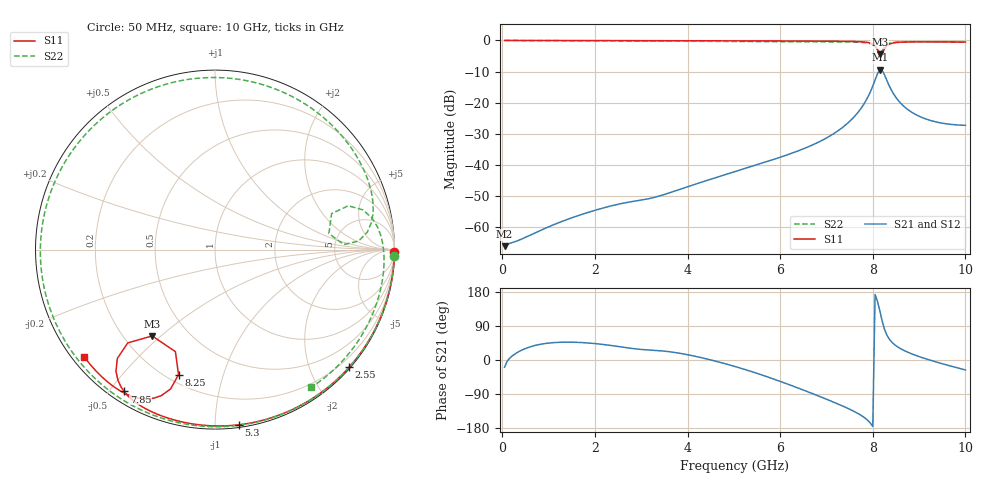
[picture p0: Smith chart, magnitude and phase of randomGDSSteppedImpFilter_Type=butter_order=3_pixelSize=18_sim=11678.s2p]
! freq	dB(S11)	phase(S11)	dB(S12)	phase(S12)
!  dB(S21)	phase(S21)	dB(S22)	phase(S22)
!S-par simulation data
#  GHz  S  DB  R 50
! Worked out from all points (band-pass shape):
!   200 points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, 50 MHz to 10 GHz, reference 50 ohm
!   highest |S21| = -9.43 dB at 8.15 GHz (marker M1); lowest = -66.2 dB at 50 MHz (marker M2)
!   |S21| within 3 dB of the highest: 8.058 GHz to 8.291 GHz (233.5 MHz wide, 2.86 % of centre)
!   lowest |S11| = -4.5 dB at 8.15 GHz (marker M3), VSWR 3.94, Z = 15.7 - j23.4 ohm
!   |S11| at or under -10 dB: nowhere
!   |S22| runs from -3.9 to 0.0 dB; largest |S21 - S12| = 0
!   S11 on the Smith chart (normalised r, x): 50 MHz: open; 2.55 GHz: 0.02, -2.66; 5.3 GHz: 0.02, -1.15; 7.85 GHz: 0.04, -0.55; 8.25 GHz: 0.24, -0.72; 10 GHz: 0.03, -0.36
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0.05  -0.00 -0.8  -66.21 -19.1  -66.21 -19.1  -0.00 -2.2
0.8  -0.01 -13.2  -61.30 40.9  -61.30 40.9  -0.04 -34.3
1.3  -0.03 -21.3  -58.18 47.0  -58.18 47.0  -0.07 -55.2
1.75  -0.04 -28.6  -55.83 45.8  -55.83 45.8  -0.09 -73.8
2.55  -0.05 -41.2  -52.56 34.8  -52.56 34.8  -0.13 -106.4
3.4  -0.07 -54.3  -50.02 24.5  -50.02 24.5  -0.18 -140.8
4.25  -0.09 -67.0  -45.86 7.5  -45.86 7.5  -0.23 -175.9
5.05  -0.12 -78.6  -42.10 -18.1  -42.10 -18.1  -0.28 149.4
5.3  -0.13 -82.2  -40.94 -27.4  -40.94 -27.4  -0.30 138.2
6.05  -0.16 -92.8  -37.35 -58.6  -37.35 -58.6  -0.35 103.4
6.7  -0.20 -101.9  -33.62 -88.7  -33.62 -88.7  -0.39 72.5
7.4  -0.28 -112.6  -27.37 -124.2  -27.37 -124.2  -0.46 39.1
7.85  -0.55 -122.6  -19.44 -154.8  -19.44 -154.8  -0.76 16.1
8.05  -1.78 -131.9  -12.73 172.6  -12.73 172.6  -1.92 3.4
8.15  -4.51 -126.1  -9.43 131.2  -9.43 131.2  -3.86 8.0
8.2  -4.30 -111.2  -9.56 104.3  -9.56 104.3  -3.35 17.1
8.25  -2.78 -106.3  -10.96 82.3  -10.96 82.3  -2.14 18.2
8.35  -1.25 -110.1  -14.44 56.3  -14.44 56.3  -0.98 11.3
8.6  -0.56 -118.8  -20.14 29.9  -20.14 29.9  -0.51 -3.3
8.95  -0.45 -125.6  -24.03 11.2  -24.03 11.2  -0.46 -18.4
9.4  -0.46 -132.4  -26.33 -6.3  -26.33 -6.3  -0.49 -35.1
10  -0.52 -140.6  -27.31 -26.2  -27.31 -26.2  -0.57 -55.1
